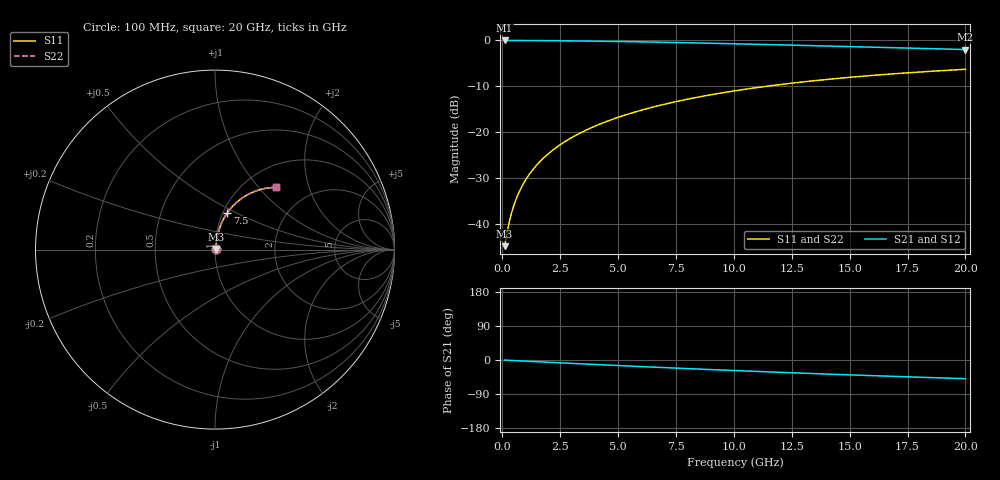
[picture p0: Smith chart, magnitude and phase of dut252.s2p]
! Touchstone file exported from HFSS 2024.1.0
!  File:  C:/UserFiles/LocalFiles/RDL_TSV_Batchsim/temp_RDL_top_252_1778688972.aedt
!  Generated:  12:18:45 AM May 14, 2026
!  Design:  RDL_top
!  Project:  temp_RDL_top_252_1778688972
!  Setup:  Setup1
!  Solution:  Sweep
! Variables:
!  dtsv = 10.80580581um
!  hbump = 3um
!  htsv = 59.49um
!  ldown = 100um
!  lrdl = 689.32um
!  p = 40
!  p1 = 47.25um
!  rhole = 1um
!  t = 450um
!  tdown = 3.915915916um
!  trdl = 3.35um
!  wdown = 15.38538539um
!  wrdl = 15.24um
# GHz S MA R 50.000000
! Terminal data exported
! Port[1] = Box2_T1
! Port[2] = Box2_T2
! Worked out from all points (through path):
!   200 points, 100 MHz to 20 GHz, reference 50 ohm
!   highest |S21| = -0.04 dB at 100 MHz (marker M1); lowest = -2.0 dB at 20 GHz (marker M2)
!   group delay of S21, straight-line fit = 6.84 ps
!   lowest |S11| = -44.8 dB at 100 MHz (marker M3), VSWR 1.01, Z = 50.5 + j0.312 ohm
!   |S11| at or under -10 dB: start of sweep to 11.42 GHz
!   |S22| runs from -44.8 to -6.3 dB; largest |S21 - S12| = 3.2e-15
!   S11 on the Smith chart (normalised r, x): 100 MHz: 1.01, +0.01; 7.5 GHz: 1.05, +0.45; 20 GHz: 1.37, +1.24
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0.1  0.005778 32.3  0.9951 -0.3  0.9951 -0.3  0.005778 32.3
! Gamma 0 0 0 0
! Port Impedance 50 0 50 0
0.2  0.007932 50.8  0.995 -0.6  0.995 -0.6  0.007932 50.8
0.3  0.01052 60.4  0.9948 -0.9  0.9948 -0.9  0.01052 60.4
0.4  0.01325 65.9  0.9946 -1.2  0.9946 -1.2  0.01325 65.9
0.5  0.01603 69.4  0.9944 -1.5  0.9944 -1.5  0.01603 69.4
0.6  0.01882 71.9  0.9942 -1.8  0.9942 -1.8  0.01882 71.9
0.8  0.02445 75.0  0.9937 -2.4  0.9937 -2.4  0.02445 75.0
1.1  0.03295 77.6  0.993 -3.3  0.993 -3.3  0.03295 77.6
1.3  0.03865 78.6  0.9924 -3.9  0.9924 -3.9  0.03865 78.6
1.6  0.04724 79.4  0.9915 -4.8  0.9915 -4.8  0.04725 79.4
2.1  0.06163 80.0  0.9895 -6.3  0.9895 -6.3  0.06163 80.0
2.7  0.07895 79.8  0.9866 -8.0  0.9866 -8.0  0.07895 79.9
3.5  0.1021 79.0  0.9818 -10.4  0.9818 -10.4  0.1021 79.0
4.2  0.1222 78.0  0.9768 -12.4  0.9768 -12.4  0.1222 78.0
5  0.1452 76.6  0.9702 -14.6  0.9702 -14.6  0.1452 76.6
6.8  0.1959 73.0  0.9528 -19.6  0.9528 -19.6  0.196 73.0
7.5  0.2152 71.5  0.9453 -21.4  0.9453 -21.4  0.2153 71.6
8.7  0.2476 68.9  0.9317 -24.5  0.9317 -24.5  0.2477 69.0
10.1  0.2838 65.9  0.915 -28.0  0.915 -28.0  0.284 65.9
13.4  0.3618 58.7  0.8738 -35.7  0.8738 -35.7  0.362 58.8
16.7  0.4283 52.0  0.8323 -42.8  0.8323 -42.8  0.4286 52.0
20  0.4834 45.7  0.7924 -49.3  0.7924 -49.3  0.4838 45.8
